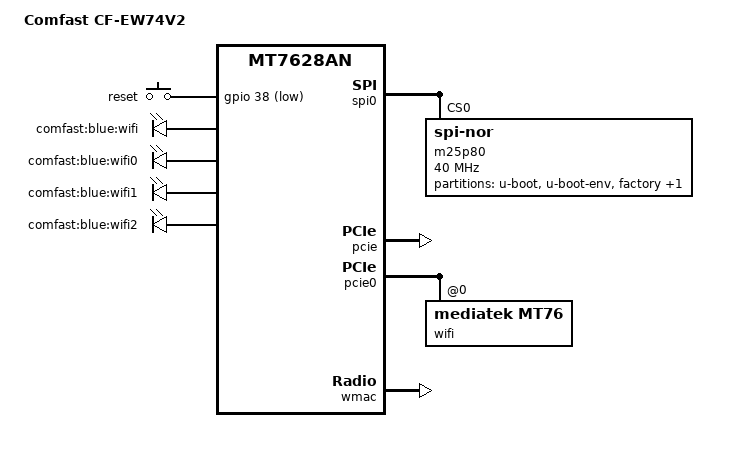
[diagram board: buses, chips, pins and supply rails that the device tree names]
// SPDX-License-Identifier: GPL-2.0-or-later OR MIT
/dts-v1/;

#include "mt7628an.dtsi"
#include <dt-bindings/gpio/gpio.h>
#include <dt-bindings/input/input.h>

/ {
	compatible = "comfast,cf-ew74-v2", "mediatek,mt7628an-soc";
	model = "Comfast CF-EW74V2";

	keys {
		compatible = "gpio-keys";
		reset {
			label = "reset";
			gpios = <&gpio 38 GPIO_ACTIVE_LOW>;
			linux,code = <KEY_RESTART>;
		};
	};

	leds {


		wifi {
			label = "comfast:blue:wifi";
			gpios = <0x10 0x0c 0x01>;
		};

		wifi0 {
			label = "comfast:blue:wifi0";
			gpios = <0x11 0x0b 0x01>;
		};

		wifi1 {
			label = "comfast:blue:wifi1";
			gpios = <0x10 0x05 0x01>;
		};

		wifi2 {
			label = "comfast:blue:wifi2";
			gpios = <0x10 0x0e 0x01>;
		};
	};

	chosen {
		bootargs = "console=ttyS0,115200";
	};

};

&spi0 {
	status = "okay";

	pinctrl-names = "default";
	pinctrl-0 = <&spi_pins>, <&spi_cs1_pins>;

	m25p80@0 {
		compatible = "jedec,spi-nor";
		reg = <0>;
		spi-max-frequency = <40000000>;

		partitions {
			compatible = "fixed-partitions";
			#address-cells = <1>;
			#size-cells = <1>;

			partition@0 {
				label = "u-boot";
				reg = <0x0 0x30000>;
				read-only;
			};

			partition@30000 {
				label = "u-boot-env";
				reg = <0x30000 0x10000>;
			};

			factory: partition@40000 {
				label = "factory";
				reg = <0x40000 0x10000>;
				read-only;
			};

			partition@50000 {
				compatible = "denx,uimage";
				label = "firmware";
				reg = <0x50000 0x7B0000>;
			};
		};
	};
};


&pcie {
	status = "okay";
};


&pcie0 {
	wifi@0,0 {
		compatible = "mediatek,mt76";
		reg = <0x0000 0 0 0 0>;
		mediatek,mtd-eeprom = <&factory 0x8000>;
        mediatek,5ghz = <0x00>;
		ieee80211-freq-limit = <5000000 6000000>;
		mtd-mac-address = < 0x8004>;
		mac-address-increment = <2>;
	};
};

&ethernet {
	ralink,port-map = "llllw";
};


&wmac {
	status = "okay";
	mediatek,mtd-eeprom = <&factory 0x0>;
	mediatek,5ghz = <0x00>;
	ralink,mtd-eeprom = <0x0f 0x00>;
};

